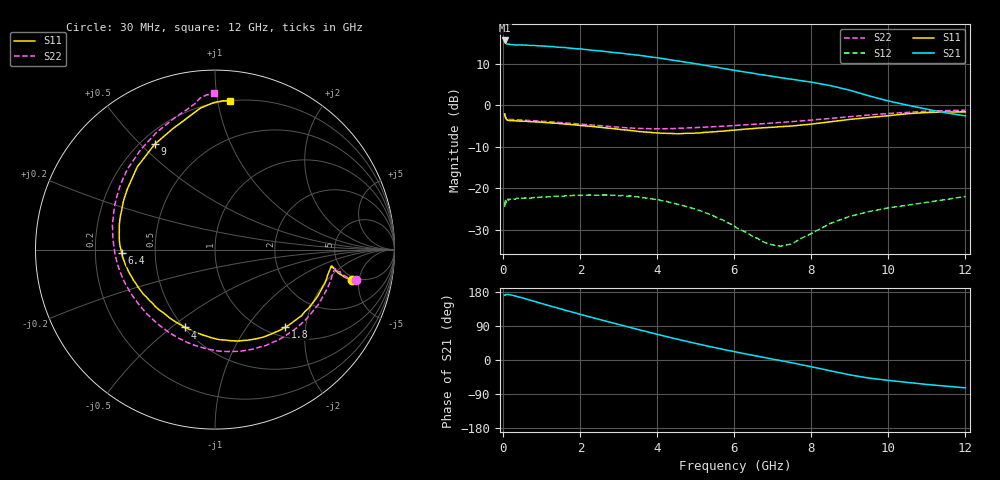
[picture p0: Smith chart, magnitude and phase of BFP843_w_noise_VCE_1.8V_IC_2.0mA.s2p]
! Infineon Technologies  Discrete & RF Semiconductors
! BFP843
! VCE =  1.8 V,  IC =  2.0 mA
! Common Emitter S-Parameters:  Aug 2013
# GHz  S  MA  R  50
!  f  S11  S21  S12  S22
! GHz  MAG  ANG  MAG  ANG  MAG  ANG  MAG  ANG
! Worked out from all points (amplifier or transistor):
!   103 points, 30 MHz to 12 GHz, reference 50 ohm
!   highest |S21| = 15.6 dB at 30 MHz (marker M1)
!   |S21| within 3 dB of that: start of sweep to 2.964 GHz
!   unconditionally stable (mu >= 1): 131.5 MHz to 967.3 MHz; 2.951 GHz to 11.14 GHz
!   at 400 MHz: K = 1.02, MAG = 17.7 dB, |S12| = -22.5 dB
!   at 3.7 GHz: K = 1.10, MAG = 15.1 dB, |S12| = -22.4 dB
!   at 12 GHz: K = 0.86, MSG = 9.7 dB, |S12| = -22.0 dB
!   lowest NFmin = 1.16 dB at 450 MHz
!   S11 on the Smith chart (normalised r, x): 30 MHz: 4.56, -4.02; 1.8 GHz: 1.18, -1.55; 4 GHz: 0.51, -0.56; 6.4 GHz: 0.32, -0.02; 9 GHz: 0.25, +0.55; 12 GHz: 0.20, +1.08
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0.03  0.7828 -12.6  6.03 170.8  0.0595 39.1  0.8026 -12.1
0.05  0.7159 -11.3  5.674 172.6  0.0735 20.4  0.7359 -11.4
0.07  0.6854 -10.0  5.513 172.8  0.071 16.9  0.707 -10.0
0.13  0.6605 -8.1  5.436 173.0  0.0741 10.5  0.6779 -9.0
0.8  0.6312 -21.8  5.253 154.8  0.0776 -1.0  0.6516 -28.2
1.3  0.6079 -34.7  5.078 140.1  0.08 -5.0  0.6288 -45.1
1.8  0.5829 -47.9  4.842 126.0  0.0821 -9.4  0.6047 -62.1
2.1  0.5656 -56.1  4.709 117.6  0.0824 -13.5  0.5881 -72.3
2.6  0.5372 -69.8  4.465 104.2  0.0832 -19.7  0.5641 -89.0
3.1  0.5063 -83.9  4.223 91.0  0.0821 -26.5  0.5405 -106.0
4  0.4638 -110.8  3.731 67.6  0.0737 -39.5  0.5215 -135.9
4.1  0.4611 -114.0  3.671 65.1  0.0709 -41.4  0.5214 -139.2
4.6  0.4552 -130.2  3.384 53.0  0.063 -47.6  0.5296 -153.3
5.1  0.4647 -145.6  3.104 41.4  0.0539 -52.9  0.5413 -165.8
6.1  0.507 -171.0  2.59 20.0  0.0326 -55.0  0.5737 172.7
6.4  0.5206 -178.0  2.467 13.9  0.0278 -51.5  0.5872 166.8
7.2  0.5521 164.6  2.146 -1.6  0.0201 -18.3  0.6209 151.8
8.5  0.633 133.1  1.723 -28.7  0.0379 14.6  0.6942 126.6
9  0.6762 119.8  1.515 -39.2  0.046 12.7  0.7297 116.5
9.5  0.7128 109.4  1.297 -47.8  0.0525 9.2  0.7636 107.9
10.5  0.7919 96.0  1.003 -59.2  0.0626 3.3  0.821 97.8
12  0.8323 84.3  0.745 -73.4  0.0797 -5.7  0.871 90.2
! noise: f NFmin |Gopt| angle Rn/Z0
0.45  1.16  0.34  9  0.05
0.9  1.19  0.35  19  0.08
1.5  1.25  0.34  31  0.18
1.9  1.3  0.33  40  0.27
2.4  1.38  0.32  50  0.36
3.5  1.55  0.27  71  0.52
5.5  1.89  0.22  159  0.56
10  2.91  0.58  -85  0.63
